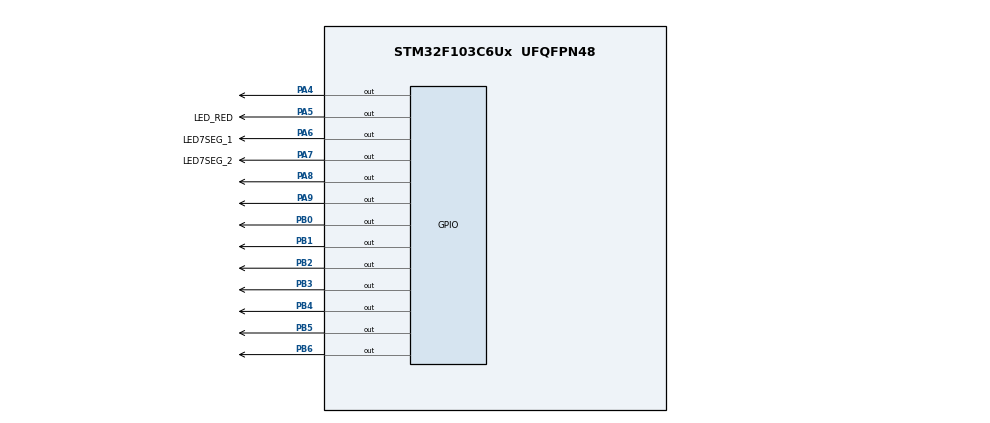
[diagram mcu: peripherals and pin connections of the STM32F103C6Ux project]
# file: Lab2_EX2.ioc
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Mcu.Family=STM32F1
Mcu.Name=STM32F103C6Ux
Mcu.Package=UFQFPN48
NVIC.PriorityGroup=NVIC_PRIORITYGROUP_4
NVIC.TIM2_IRQn=true\:0\:0\:false\:false\:true\:true\:true\:true
PA4.Signal=GPIO_Output
PA5.GPIO_Label=LED_RED
PA5.Signal=GPIO_Output
PA6.GPIO_Label=LED7SEG_1
PA6.Signal=GPIO_Output
PA7.GPIO_Label=LED7SEG_2
PA7.Signal=GPIO_Output
PA8.Signal=GPIO_Output
PA9.Signal=GPIO_Output
PB0.Signal=GPIO_Output
PB1.Signal=GPIO_Output
PB2.Signal=GPIO_Output
PB3.Signal=GPIO_Output
PB4.Signal=GPIO_Output
PB5.Signal=GPIO_Output
PB6.Signal=GPIO_Output
ProjectManager.HeapSize=0x200
ProjectManager.StackSize=0x400
ProjectManager.TargetToolchain=STM32CubeIDE
RCC.APB1Freq_Value=8000000
RCC.APB2Freq_Value=8000000
TIM2.Period=9
TIM2.Prescaler=7999
VP_TIM2_VS_ClockSourceINT.Mode=Internal
board=custom

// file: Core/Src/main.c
/* USER CODE BEGIN Header */
/**
  ******************************************************************************
  * @file           : main.c
  * @brief          : Main program body
  ******************************************************************************
  * @attention
  *
  * Copyright (c) 2023 STMicroelectronics.
  * All rights reserved.
  *
  * This software is licensed under terms that can be found in the LICENSE file
  * in the root directory of this software component.
  * If no LICENSE file comes with this software, it is provided AS-IS.
  *
  ******************************************************************************
  */
/* USER CODE END Header */
#include "main.h"

/* USER CODE BEGIN Includes */
#include "software_timer.h"
/* USER CODE END Includes */

TIM_HandleTypeDef htim2;

void SystemClock_Config(void);
static void MX_GPIO_Init(void);
static void MX_TIM2_Init(void);

int main(void)
{

  /* MCU Configuration--------------------------------------------------------*/

  /* Reset of all peripherals, Initializes the Flash interface and the Systick. */
  HAL_Init();

  /* Configure the system clock */
  SystemClock_Config();

  /* Initialize all configured peripherals */
  MX_GPIO_Init();
  MX_TIM2_Init();
  HAL_TIM_Base_Start_IT(&htim2);
  /* USER CODE BEGIN 2 */
  	void led7seg_on(int pin) {
		HAL_GPIO_WritePin(GPIOB, pin, RESET);
  	}

	void led7seg_off(int pin) {
		HAL_GPIO_WritePin(GPIOB, pin, SET);
	}

	void led7seg(int a, int b, int c, int d, int e, int f, int g) {
		if(a == 1) led7seg_on(GPIO_PIN_0);
		else led7seg_off(GPIO_PIN_0);

		if(b == 1) led7seg_on(GPIO_PIN_1);
		else led7seg_off(GPIO_PIN_1);

		if(c == 1) led7seg_on(GPIO_PIN_2);
		else led7seg_off(GPIO_PIN_2);

		if(d == 1) led7seg_on(GPIO_PIN_3);
		else led7seg_off(GPIO_PIN_3);

		if(e == 1) led7seg_on(GPIO_PIN_4);
		else led7seg_off(GPIO_PIN_4);

		if(f == 1) led7seg_on(GPIO_PIN_5);
		else led7seg_off(GPIO_PIN_5);

		if(g == 1) led7seg_on(GPIO_PIN_6);
		else led7seg_off(GPIO_PIN_6);
	}
    void display_led(int counter) {
  		 if(counter == 0) {
  			 led7seg(1, 1, 1, 1, 1, 1, 0);
  		 }
  		 else if(counter == 1) {
  			 led7seg(0, 1, 1, 0, 0, 0, 0);
  		 }
  		 else if(counter == 2) {
  			 led7seg(1, 1, 0, 1, 1, 0, 1);
  		 }
  		 else if(counter == 3) {
  			 led7seg(1, 1, 1, 1, 0, 0, 1);
  		 }
  		 else if(counter == 4) {
  			 led7seg(0, 1, 1, 0, 0, 1, 1);
  		 }
  		 else if(counter == 5) {
  			 led7seg(1, 0, 1, 1, 0, 1, 1);
  		 }
  		 else if(counter == 6) {
  			 led7seg(1, 0, 1, 1, 1, 1, 1);
  		 }
  		 else if(counter == 7) {
  			 led7seg(1, 1, 1, 0, 0, 0, 0);
  		 }
  		 else if(counter == 8) {
  			 led7seg(1, 1, 1, 1, 1, 1, 1);
  		 }
  		 else {
  			 led7seg(1, 1, 1, 1, 0, 1, 1);
  		 }
    }
  /* USER CODE END 2 */

  /* Infinite loop */
  /* USER CODE BEGIN WHILE */
    setTimer1(100);
    setTimer2(100);

    int currentStatus = 1;
    int led_status = 0;
    HAL_GPIO_WritePin(GPIOA, GPIO_PIN_4, SET);
    HAL_GPIO_WritePin(GPIOA, GPIO_PIN_6, RESET);
    display_led(1);
    HAL_GPIO_WritePin(GPIOA, GPIO_PIN_7, SET);
    HAL_GPIO_WritePin(GPIOA, GPIO_PIN_8, SET);
    HAL_GPIO_WritePin(GPIOA, GPIO_PIN_9, SET);
  while (1) {
    /* USER CODE END WHILE */
	  if(timer1_flag == 1) {
	  		  setTimer1(50);
	  		  switch(currentStatus){
  		  	  	  case 0:
  		  		  	HAL_GPIO_WritePin(GPIOA, GPIO_PIN_9, SET);
  		  	    	HAL_GPIO_WritePin(GPIOA, GPIO_PIN_6, RESET);
  		  			currentStatus = 1;
  		  	    	break;
	  		  	  case 1:
	  		  		HAL_GPIO_WritePin(GPIOA, GPIO_PIN_6, SET);
	  		  		HAL_GPIO_WritePin(GPIOA, GPIO_PIN_7, RESET);
	  		  		currentStatus = 2;
	  		  		break;
	  		  	  case 2:
	  		  		HAL_GPIO_WritePin(GPIOA, GPIO_PIN_7, SET);
	  		  		HAL_GPIO_WritePin(GPIOA, GPIO_PIN_8, RESET);
	  		  		currentStatus = 3;
	  		  		break;
	  		  	  case 3:
	  		  		HAL_GPIO_WritePin(GPIOA, GPIO_PIN_8, SET);
	  		  		HAL_GPIO_WritePin(GPIOA, GPIO_PIN_9, RESET);
	  		  		currentStatus = 0;
	  		  		break;
	  		  }
	  		display_led(currentStatus);
	  }

	  if(timer2_flag == 1) {
	  	  		  setTimer2(100);
	  	  		  switch(led_status){
	    		  case 0:
	    			  HAL_GPIO_WritePin(GPIOA, GPIO_PIN_4, RESET);
	    		  	  led_status = 1;
	    		  	  break;
	  	  		  case 1:
	  	  			  HAL_GPIO_WritePin(GPIOA, GPIO_PIN_4, SET);
	  	  			  led_status = 0;
	  	  			  break;
	  	  		  }
	  }
  }
}

void SystemClock_Config(void)
{
  RCC_OscInitTypeDef RCC_OscInitStruct = {0};
  RCC_ClkInitTypeDef RCC_ClkInitStruct = {0};

  /** Initializes the RCC Oscillators according to the specified parameters
  * in the RCC_OscInitTypeDef structure.
  */
  RCC_OscInitStruct.OscillatorType = RCC_OSCILLATORTYPE_HSI;
  RCC_OscInitStruct.HSIState = RCC_HSI_ON;
  RCC_OscInitStruct.HSICalibrationValue = RCC_HSICALIBRATION_DEFAULT;
  RCC_OscInitStruct.PLL.PLLState = RCC_PLL_NONE;
  if (HAL_RCC_OscConfig(&RCC_OscInitStruct) != HAL_OK)
  {
    Error_Handler();
  }

  /** Initializes the CPU, AHB and APB buses clocks
  */
  RCC_ClkInitStruct.ClockType = RCC_CLOCKTYPE_HCLK|RCC_CLOCKTYPE_SYSCLK
                              |RCC_CLOCKTYPE_PCLK1|RCC_CLOCKTYPE_PCLK2;
  RCC_ClkInitStruct.SYSCLKSource = RCC_SYSCLKSOURCE_HSI;
  RCC_ClkInitStruct.AHBCLKDivider = RCC_SYSCLK_DIV1;
  RCC_ClkInitStruct.APB1CLKDivider = RCC_HCLK_DIV1;
  RCC_ClkInitStruct.APB2CLKDivider = RCC_HCLK_DIV1;

  if (HAL_RCC_ClockConfig(&RCC_ClkInitStruct, FLASH_LATENCY_0) != HAL_OK)
  {
    Error_Handler();
  }
}

static void MX_TIM2_Init(void)
{

  TIM_ClockConfigTypeDef sClockSourceConfig = {0};
  TIM_MasterConfigTypeDef sMasterConfig = {0};

  htim2.Instance = TIM2;
  htim2.Init.Prescaler = 7999;
  htim2.Init.CounterMode = TIM_COUNTERMODE_UP;
  htim2.Init.Period = 9;
  htim2.Init.ClockDivision = TIM_CLOCKDIVISION_DIV1;
  htim2.Init.AutoReloadPreload = TIM_AUTORELOAD_PRELOAD_DISABLE;
  if (HAL_TIM_Base_Init(&htim2) != HAL_OK)
  {
    Error_Handler();
  }
  sClockSourceConfig.ClockSource = TIM_CLOCKSOURCE_INTERNAL;
  if (HAL_TIM_ConfigClockSource(&htim2, &sClockSourceConfig) != HAL_OK)
  {
    Error_Handler();
  }
  sMasterConfig.MasterOutputTrigger = TIM_TRGO_RESET;
  sMasterConfig.MasterSlaveMode = TIM_MASTERSLAVEMODE_DISABLE;
  if (HAL_TIMEx_MasterConfigSynchronization(&htim2, &sMasterConfig) != HAL_OK)
  {
    Error_Handler();
  }

}

static void MX_GPIO_Init(void)
{
  GPIO_InitTypeDef GPIO_InitStruct = {0};

  /* GPIO Ports Clock Enable */
  __HAL_RCC_GPIOA_CLK_ENABLE();
  __HAL_RCC_GPIOB_CLK_ENABLE();

  /*Configure GPIO pin Output Level */
  HAL_GPIO_WritePin(GPIOA, GPIO_PIN_4|LED_RED_Pin|LED7SEG_1_Pin|LED7SEG_2_Pin
                          |GPIO_PIN_8|GPIO_PIN_9, GPIO_PIN_RESET);

  /*Configure GPIO pin Output Level */
  HAL_GPIO_WritePin(GPIOB, GPIO_PIN_0|GPIO_PIN_1|GPIO_PIN_2|GPIO_PIN_3
                          |GPIO_PIN_4|GPIO_PIN_5|GPIO_PIN_6, GPIO_PIN_RESET);

  /*Configure GPIO pins : PA4 LED_RED_Pin LED7SEG_1_Pin LED7SEG_2_Pin
                           PA8 PA9 */
  GPIO_InitStruct.Pin = GPIO_PIN_4|LED_RED_Pin|LED7SEG_1_Pin|LED7SEG_2_Pin
                          |GPIO_PIN_8|GPIO_PIN_9;
  GPIO_InitStruct.Mode = GPIO_MODE_OUTPUT_PP;
  GPIO_InitStruct.Pull = GPIO_NOPULL;
  GPIO_InitStruct.Speed = GPIO_SPEED_FREQ_LOW;
  HAL_GPIO_Init(GPIOA, &GPIO_InitStruct);

  /*Configure GPIO pins : PB0 PB1 PB2 PB3
                           PB4 PB5 PB6 */
  GPIO_InitStruct.Pin = GPIO_PIN_0|GPIO_PIN_1|GPIO_PIN_2|GPIO_PIN_3
                          |GPIO_PIN_4|GPIO_PIN_5|GPIO_PIN_6;
  GPIO_InitStruct.Mode = GPIO_MODE_OUTPUT_PP;
  GPIO_InitStruct.Pull = GPIO_NOPULL;
  GPIO_InitStruct.Speed = GPIO_SPEED_FREQ_LOW;
  HAL_GPIO_Init(GPIOB, &GPIO_InitStruct);

}

/* USER CODE BEGIN 4 */
void HAL_TIM_PeriodElapsedCallback(TIM_HandleTypeDef *htim) {
	timer1Run();
	timer2Run();
}
/* USER CODE END 4 */

void Error_Handler(void)
{
  __disable_irq();
  while (1)
  {
  }
}
